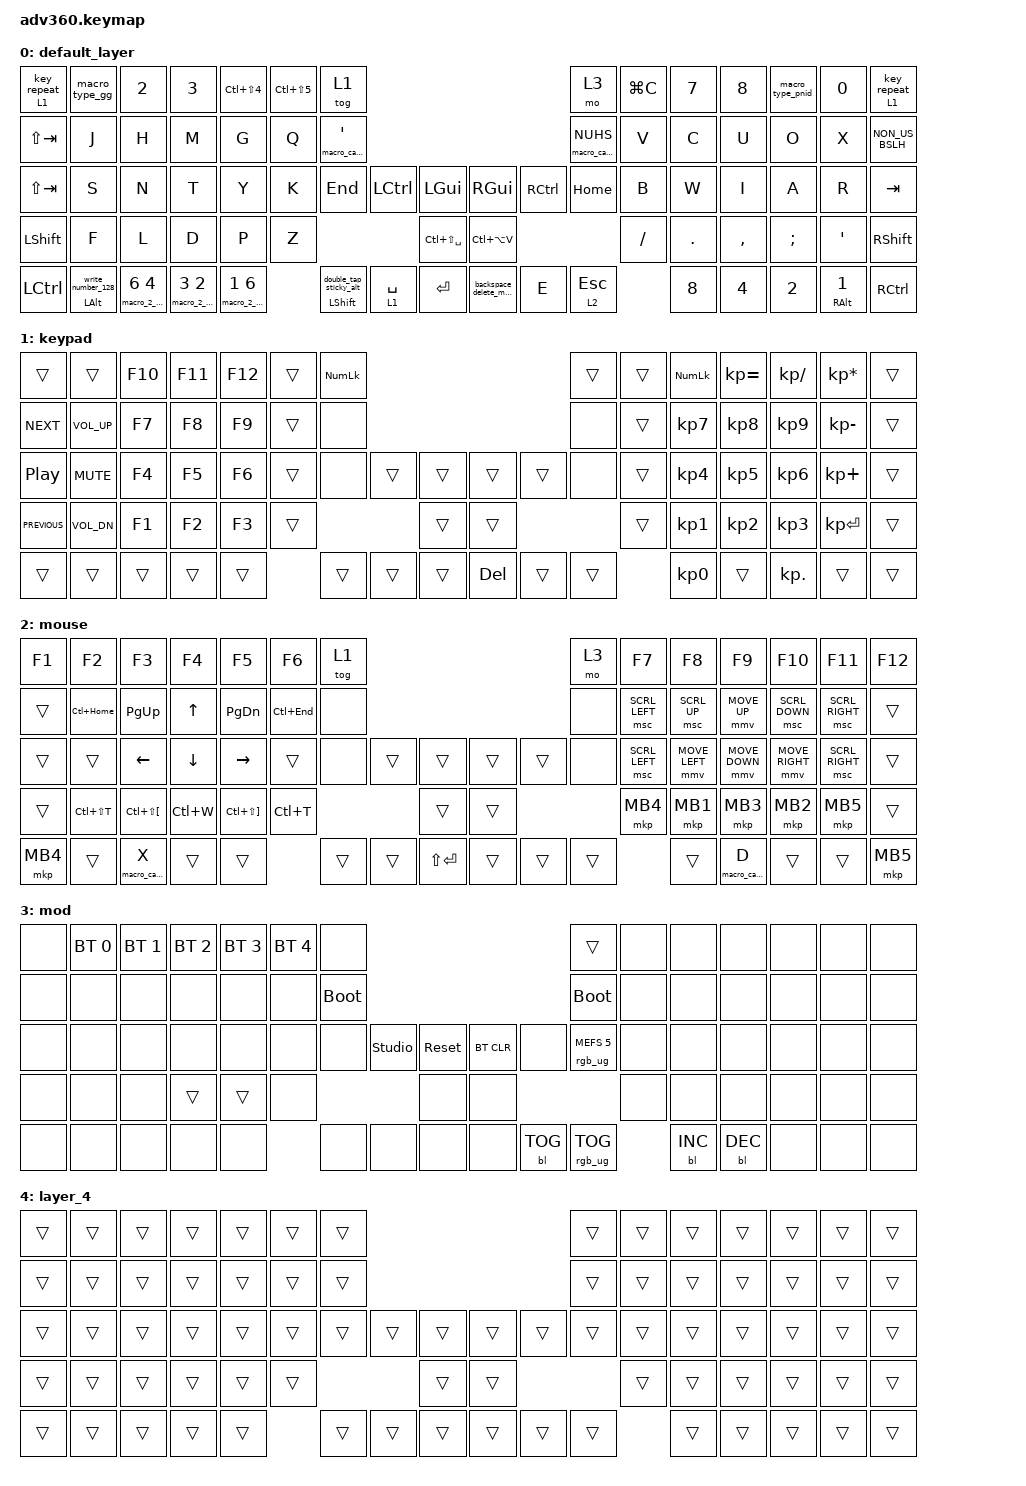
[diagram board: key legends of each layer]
#include <dt-bindings/zmk/mouse.h>
#include <dt-bindings/zmk/stp.h>
#include <behaviors.dtsi>
#include <dt-bindings/zmk/backlight.h>
#include <dt-bindings/zmk/bt.h>
#include <dt-bindings/zmk/keys.h>
#include <dt-bindings/zmk/pointing.h>
#include <dt-bindings/zmk/rgb.h>

&lt {
    retro-tap;
    hold-while-undecided;
    flavor = "balanced";
    quick-tap-ms = <350>;
    require-prior-idle-ms = <175>;
};

&mmv {
    time-to-max-speed-ms = <300>;
    acceleration-exponent = <2>;
};

/ {
    behaviors {
        #include "macros.dtsi"
      #include "version.dtsi"
      #ifndef VERSION_MACRO


        #endif

        hm: homerow_mods {
            compatible = "zmk,behavior-hold-tap";
            label = "HOMEROW_MODS";
            #binding-cells = <2>;
            tapping-term-ms = <200>;
            quick_tap_ms = <175>;
            flavor = "tap-preferred";
            bindings = <&kp>, <&kp>;

            quick-tap-ms = <0>;
        };

        double_tap_e_delete: double_tap_e_delete {
            compatible = "zmk,behavior-tap-dance";
            label = "DOUBLE_TAP_E_DELETE";
            #binding-cells = <0>;
            bindings = <&kp E>, <&kp DELETE>;

            tapping-term-ms = <350>;
        };

        hold_tap_keypad_e_delete: hold_tap_keypad_e_delete {
            compatible = "zmk,behavior-hold-tap";
            label = "HOLD_TAP_KEYPAD_E_DELETE";
            bindings = <&mo>, <&double_tap_e_delete>;

            #binding-cells = <2>;
            tapping-term-ms = <350>;
            flavor = "tap-preferred";
        };

        double_tap_sticky_alt: double_tap_sticky_alt {
            compatible = "zmk,behavior-tap-dance";
            label = "DOUBLE_TAP_STICKY_ALT";
            #binding-cells = <0>;
            bindings = <&sk LSHIFT>, <&sk LALT>, <&caps_word>;

            tapping-term-ms = <350>;
        };

        hold_tap_shift_alt: hold_tap_shift_alt {
            compatible = "zmk,behavior-hold-tap";
            label = "HOLD_TAP_SHIFT_ALT";
            bindings = <&kp>, <&double_tap_sticky_alt>;

            #binding-cells = <2>;
            tapping-term-ms = <350>;
            flavor = "hold-preferred";
        };

        repeat_hold: repeat_hold {
            compatible = "zmk,behavior-hold-tap";
            label = "REPEAT_HOLD";
            bindings = <&kp>, <&key_repeat>;

            #binding-cells = <2>;
            tapping-term-ms = <200>;
            flavor = "tap-preferred";
            retro-tap;
        };

        backspace_delete_morph: backspace_delete_morph {
            compatible = "zmk,behavior-mod-morph";
            label = "BACKSPACE_DELETE_MORPH";
            bindings = <&kp BACKSPACE>, <&kp DEL>;

            #binding-cells = <0>;
            mods = <(MOD_LSFT)>;
        };

        homerow_layers: homerow_layers {
            compatible = "zmk,behavior-hold-tap";
            label = "HOMEROW_LAYERS";
            #binding-cells = <2>;
            tapping-term-ms = <200>;
            quick_tap_ms = <175>;
            flavor = "tap-preferred";
            bindings = <&lt>, <&kp>;

            quick-tap-ms = <0>;
        };

        ht_128_kp: ht_128_kp {
            compatible = "zmk,behavior-hold-tap";
            label = "HT_128_KP";
            bindings = <&kp>, <&write_number_128>;

            #binding-cells = <2>;
            tapping-term-ms = <200>;
            flavor = "balanced";
        };

        lt_hold_preferred: lt_hold_preferred {
            compatible = "zmk,behavior-hold-tap";
            label = "LT_HOLD_PREFERRED";
            bindings = <&mo>, <&kp>;

            #binding-cells = <2>;
            tapping-term-ms = <200>;
        };

        repeat_layer: repeat_layer {
            compatible = "zmk,behavior-hold-tap";
            label = "REPEAT_LAYER";
            bindings = <&mo>, <&key_repeat>;

            #binding-cells = <2>;
            tapping-term-ms = <200>;
            flavor = "tap-preferred";
            retro-tap;
        };
    };

    macros {
        macro_dbl_tap: macro_dbl_tap {
            compatible = "zmk,behavior-macro-one-param";
            label = "MACRO_DBL_TAP";
            #binding-cells = <1>;
            bindings = <&macro_param_1to1 &kp MACRO_PLACEHOLDER &macro_param_1to1 &kp MACRO_PLACEHOLDER>;
        };

        macro_caps_and: macro_caps_and {
            compatible = "zmk,behavior-macro-one-param";
            #binding-cells = <1>;
            bindings =
                <&macro_press>,
                <&kp CAPS &macro_param_1to1 &kp MACRO_PLACEHOLDER>,
                <&macro_pause_for_release>,
                <&macro_release>,
                <&macro_param_1to1 &kp MACRO_PLACEHOLDER &kp CAPS>;

            label = "MACRO_CAPS_AND";
        };

        macro_triple_tap: macro_triple_equals {
            compatible = "zmk,behavior-macro-one-param";
            #binding-cells = <1>;
            bindings = <&macro_param_1to1 &macro_dbl_tap MACRO_PLACEHOLDER &macro_param_1to1 &kp MACRO_PLACEHOLDER>;
            label = "MACRO_TRIPLE_EQUALS";
        };

        write_number_2: write_number_2 {
            compatible = "zmk,behavior-macro-two-param";
            #binding-cells = <2>;
            bindings = <&macro_param_1to1 &kp MACRO_PLACEHOLDER &macro_param_2to1 &kp MACRO_PLACEHOLDER>;
            label = "WRITE_NUMBER_2";
        };

        write_number: write_number {
            compatible = "zmk,behavior-macro-one-param";
            #binding-cells = <1>;
            bindings = <&macro_param_1to1 &kp MACRO_PLACEHOLDER>;
            label = "WRITE_NUMBER";
        };

        write_number_3_1: write_number_3_1 {
            compatible = "zmk,behavior-macro-two-param";
            #binding-cells = <2>;
            bindings = <&kp NUMBER_1 &macro_param_1to1 &kp MACRO_PLACEHOLDER &macro_param_2to1 &kp MACRO_PLACEHOLDER>;
            label = "WRITE_NUMBER_3_1";
        };

        write_number_3_2: write_number_3_2 {
            compatible = "zmk,behavior-macro-two-param";
            #binding-cells = <2>;
            bindings = <&kp NUMBER_2 &macro_param_1to1 &kp MACRO_PLACEHOLDER &macro_param_2to1 &kp MACRO_PLACEHOLDER>;
            label = "WRITE_NUMBER_3_2";
        };

        macro_dbl_mouse: macro_dbl_mouse {
            compatible = "zmk,behavior-macro-two-param";
            label = "MACRO_DBL_MOUSE";
            #binding-cells = <2>;
            bindings = <&macro_param_1to1 &mkp MACRO_PLACEHOLDER &macro_param_2to1 &mkp MACRO_PLACEHOLDER>;
        };

        macro_2_key: macro_2_key {
            compatible = "zmk,behavior-macro-two-param";
            label = "MACRO_2_KEY";
            #binding-cells = <2>;
            bindings = <&macro_param_1to1 &kp MACRO_PLACEHOLDER &macro_param_2to1 &kp MACRO_PLACEHOLDER>;
        };

        macro_sticky_shift: macro_sticky_shift {
            compatible = "zmk,behavior-macro";
            #binding-cells = <0>;
            bindings =
                <&macro_press>,
                <&sk LEFT_SHIFT>,
                <&macro_pause_for_release>,
                <&macro_release>,
                <&sk LEFT_SHIFT>;

            label = "MACRO_STICKY_SHIFT";
        };

        macro_alt_tab: macro_alt_tab {
            compatible = "zmk,behavior-macro";
            #binding-cells = <0>;
            bindings =
                <&macro_press>,
                <&kp LEFT_ALT>,
                <&macro_tap>,
                <&kp TAB>,
                <&macro_pause_for_release>,
                <&macro_release>,
                <&kp LEFT_ALT>;

            label = "MACRO_ALT_TAB";
        };

        write_number_128: write_number_128 {
            compatible = "zmk,behavior-macro";
            #binding-cells = <0>;
            bindings = <&kp N1 &kp N2 &kp N8>;
            label = "WRITE_NUMBER_128";
        };

        macro_select_all_and: macro_select_all_and {
            compatible = "zmk,behavior-macro-one-param";
            #binding-cells = <1>;
            bindings =
                <&macro_press>,
                <&kp LC(A) &macro_param_1to1 &kp MACRO_PLACEHOLDER>,
                <&macro_pause_for_release>,
                <&macro_release>,
                <&macro_param_1to1 &kp MACRO_PLACEHOLDER &kp CAPS>;

            label = "MACRO_SELECT_ALL_AND";
        };

        macro_type_gg: macro_type_gg {
            compatible = "zmk,behavior-macro";
            #binding-cells = <0>;
            bindings = <&kp G &kp G &kp RETURN>;
            label = "MACRO_TYPE_GG";
        };

        macro_type_pnid: macro_type_pnid {
            compatible = "zmk,behavior-macro";
            #binding-cells = <0>;
            bindings = <&kp P &kp N &kp I &kp D &kp RETURN>;
            label = "MACRO_TYPE_PNID";
        };
    };

    combos {
        compatible = "zmk,combos";

        #include "binary_combos.dtsi"
        #include "repeat_key_combos.dtsi"

        combo_undo {
            bindings = <&kp LC(Z)>;
            key-positions = <30 49>;
            layers = <0>;
            require-prior-idle-ms = <200>;
        };

        combo_redo {
            bindings = <&kp LC(LS(Z))>;
            key-positions = <30 50>;
            layers = <0>;
        };

        combo_select_all {
            bindings = <&kp LC(A)>;
            key-positions = <50 49 48>;
            require-prior-idle-ms = <200>;
            layers = <0>;
        };

        combo_copy_all {
            bindings = <&macro_select_all_and LC(C)>;
            key-positions = <50 31>;
            require-prior-idle-ms = <200>;
            layers = <0>;
        };

        combo_cut_all {
            bindings = <&macro_select_all_and LC(X)>;
            key-positions = <31 48>;
            require-prior-idle-ms = <200>;
            layers = <0>;
        };

        paste_combo {
            bindings = <&kp LC(V)>;
            key-positions = <31 51>;
            layers = <0>;
            require-prior-idle-ms = <200>;
        };

        combo_copy {
            bindings = <&kp LC(C)>;
            key-positions = <50 49>;
            layers = <0>;
            require-prior-idle-ms = <200>;
        };

        combo_cut {
            bindings = <&kp LC(X)>;
            key-positions = <48 49>;
            layers = <0>;
        };

        combo_triple_equals {
            bindings = <&macro_triple_tap EQUAL>;
            key-positions = <41 42 43 44>;
            layers = <0>;
            timeout-ms = <200>;
        };

        combo_equals {
            bindings = <&kp EQUAL>;
            key-positions = <41 42 43>;
            layers = <0>;
        };

        combo_pct {
            bindings = <&kp PRCNT>;
            key-positions = <31 32 30>;
            layers = <0>;
        };

        left_paren {
            bindings = <&kp LEFT_PARENTHESIS>;
            key-positions = <24 22>;
            layers = <0>;
            require-prior-idle-ms = <200>;
        };

        right_paren {
            bindings = <&kp RIGHT_PARENTHESIS>;
            key-positions = <24 26>;
            layers = <0>;
        };

        less_than {
            bindings = <&kp LESS_THAN>;
            key-positions = <24 23>;
            layers = <0>;
        };

        greater_than {
            bindings = <&kp GT>;
            key-positions = <24 25>;
            layers = <0>;
        };

        left_square_paren {
            bindings = <&kp LEFT_BRACKET>;
            key-positions = <23 42>;
            layers = <0>;
            require-prior-idle-ms = <200>;
        };

        right_square_paren {
            bindings = <&kp RIGHT_BRACKET>;
            key-positions = <25 42>;
            layers = <0>;
            require-prior-idle-ms = <200>;
        };

        left_curly_paren {
            bindings = <&kp LEFT_BRACE>;
            key-positions = <22 42>;
            layers = <0>;
            require-prior-idle-ms = <200>;
        };

        right_curly_paren {
            bindings = <&kp RIGHT_BRACE>;
            key-positions = <26 42>;
            layers = <0>;
        };

        dollar {
            bindings = <&kp DOLLAR>;
            key-positions = <31 33>;
            layers = <0>;
        };

        zero {
            bindings = <&kp N0>;
            key-positions = <29 31>;
            layers = <0>;
            require-prior-idle-ms = <200>;
        };

        caret {
            bindings = <&kp CARET>;
            key-positions = <31 30>;
            layers = <0>;
            require-prior-idle-ms = <200>;
        };

        double_equals {
            bindings = <&macro_dbl_tap EQUAL EQUAL>;
            key-positions = <41 43>;
            layers = <0>;
            require-prior-idle-ms = <200>;
        };

        plus {
            bindings = <&kp PLUS>;
            key-positions = <42 43>;
            layers = <0>;
        };

        minus {
            bindings = <&kp MINUS>;
            key-positions = <42 41>;
            layers = <0>;
            require-prior-idle-ms = <200>;
        };

        divide {
            bindings = <&kp KP_DIVIDE>;
            key-positions = <42 55>;
            layers = <0>;
            require-prior-idle-ms = <200>;
        };

        multiply {
            bindings = <&kp KP_MULTIPLY>;
            key-positions = <42 57>;
            layers = <0>;
            require-prior-idle-ms = <200>;
        };

        underscore_combo {
            bindings = <&kp UNDERSCORE>;
            key-positions = <41 56>;
            layers = <0>;
            require-prior-idle-ms = <200>;
        };

        double_quotes_combo {
            bindings = <&kp AT>;
            key-positions = <58 43>;
            layers = <0>;
        };

        grave_combo {
            bindings = <&kp GRAVE>;
            key-positions = <58 43 42>;
            layers = <0>;
        };

        browser_recent_tab {
            bindings = <&kp LA(Q)>;
            key-positions = <29 51>;
            layers = <2>;
        };

        alt_tab_combo {
            bindings = <&macro_alt_tab>;
            key-positions = <29 50>;
            layers = <0>;
        };

        shift_alt_tab {
            bindings = <&kp LA(LS(TAB))>;
            key-positions = <29 48>;
            layers = <0>;
        };

        less_than_eq {
            bindings = <&macro_2_key LESS_THAN EQUAL>;
            key-positions = <42 23 43>;
            layers = <0>;
            require-prior-idle-ms = <200>;
        };

        greater_than_eq {
            bindings = <&macro_2_key GREATER_THAN EQUAL>;
            key-positions = <42 41 25>;
            layers = <0>;
            require-prior-idle-ms = <200>;
        };

        arrow_combo {
            bindings = <&macro_2_key EQUAL GREATER_THAN>;
            key-positions = <42 43 44>;
            layers = <0>;
            require-prior-idle-ms = <200>;
        };

        exclamation {
            bindings = <&kp EXCL>;
            key-positions = <31 15>;
            require-prior-idle-ms = <200>;
            layers = <0>;
        };

        ampersand {
            bindings = <&kp AMPERSAND>;
            key-positions = <31 18>;
            require-prior-idle-ms = <200>;
            layers = <0>;
        };

        great_british_pounds {
            bindings = <&kp HASH>;
            key-positions = <19 31>;
            require-prior-idle-ms = <200>;
            layers = <0>;
        };

        dbl_mouse_1_combo {
            bindings = <&macro_dbl_mouse MB1 MB1>;
            key-positions = <55 56>;
            layers = <2>;
        };

        triple_grave_combo {
            bindings = <&macro_triple_tap GRAVE>;
            key-positions = <58 43 42 67>;
        };

        hash_key_combo {
            bindings = <&kp NUHS>;
            key-positions = <16 18 17>;
        };

        question_mark {
            bindings = <&kp QUESTION>;
            key-positions = <54 55>;
        };

        DESKTOP_1 {
            bindings = <&macro_caps_and NUMBER_1>;
            key-positions = <29 16>;
            layers = <0>;
            require-prior-idle-ms = <200>;
        };

        DESKTOP_2 {
            bindings = <&macro_caps_and NUMBER_2>;
            key-positions = <29 17>;
            layers = <0>;
            require-prior-idle-ms = <200>;
        };

        DESKTOP_3 {
            bindings = <&macro_caps_and NUMBER_3>;
            key-positions = <29 18>;
            layers = <0>;
            require-prior-idle-ms = <200>;
        };

        DESKTOP_4 {
            bindings = <&macro_caps_and NUMBER_4>;
            key-positions = <19 29>;
            layers = <0>;
            require-prior-idle-ms = <200>;
        };

        DESKTOP_5 {
            bindings = <&macro_caps_and Q>;
            key-positions = <30 47>;
            layers = <0>;
            require-prior-idle-ms = <200>;
        };

        DESKTOP_6 {
            bindings = <&macro_caps_and W>;
            key-positions = <31 47>;
            layers = <0>;
            require-prior-idle-ms = <200>;
        };

        DESKTOP_7 {
            bindings = <&macro_caps_and E>;
            key-positions = <32 47>;
            layers = <0>;
            require-prior-idle-ms = <200>;
        };

        DESKTOP_8 {
            bindings = <&macro_caps_and R>;
            key-positions = <33 47>;
            layers = <0>;
            require-prior-idle-ms = <200>;
        };

        combo_mission_control {
            bindings = <&macro_caps_and SPACE>;
            key-positions = <29 66>;
            require-prior-idle-ms = <200>;
            layers = <0>;
        };

        combo_toggle_finder {
            bindings = <&macro_caps_and D>;
            key-positions = <29 49>;
        };

        combo_toggle_settings {
            bindings = <&macro_caps_and D>;
            key-positions = <29 48>;
        };
    };

    keymap {
        compatible = "zmk,keymap";

        default_layer {
            bindings = <
&repeat_layer 1 0  &macro_type_gg     &kp N2                          &kp N3                          &kp LC(LS(N4))                  &kp LC(LS(N5))  &tog 1                                                                                                    &mo 3                        &kp LG(C)  &kp N7      &kp N8        &macro_type_pnid  &kp N0             &repeat_layer 1 0
&kp LS(TAB)        &kp J              &kp H                           &kp M                           &kp G                           &kp Q           &macro_caps_and SINGLE_QUOTE                                                                              &macro_caps_and NUHS         &kp V      &kp C       &kp U         &kp O             &kp X              &kp NON_US_BSLH
&kp LS(TAB)        &kp S              &kp N                           &kp T                           &kp Y                           &kp K           &kp END                           &kp LCTRL    &kp LEFT_GUI           &kp RIGHT_GUI            &kp RCTRL  &kp HOME                     &kp B      &kp W       &kp I         &kp A             &kp R              &kp TAB
&kp LSHIFT         &kp F              &kp L                           &kp D                           &kp P                           &kp Z                                                          &kp LC(LS(SPACE))      &kp LC(LA(V))                                                    &kp SLASH  &kp PERIOD  &kp COMMA     &kp SEMICOLON     &kp SQT            &kp RSHFT
&kp LEFT_CONTROL   &ht_128_kp LALT 0  &macro_2_key NUMBER_6 NUMBER_4  &macro_2_key NUMBER_3 NUMBER_2  &macro_2_key NUMBER_1 NUMBER_6                  &hold_tap_shift_alt LEFT_SHIFT 0  &lt 1 SPACE  &kp ENTER              &backspace_delete_morph  &kp E      &lt_hold_preferred 2 ESCAPE             &kp N8      &kp NUMBER_4  &kp NUMBER_2      &mt RALT NUMBER_1  &kp RCTRL
            >;
        };

        keypad {
            bindings = <
&trans            &trans           &kp F10  &kp F11  &kp F12  &trans  &kp KP_NUMLOCK                                       &trans  &trans  &kp KP_NUM       &kp KP_EQUAL  &kp KP_DIVIDE  &kp KP_MULTIPLY  &trans
&kp C_NEXT        &kp C_VOLUME_UP  &kp F7   &kp F8   &kp F9   &trans  &none                                                &none   &trans  &kp KP_N7        &kp KP_N8     &kp KP_N9      &kp KP_MINUS     &trans
&kp C_PLAY_PAUSE  &kp K_MUTE       &kp F4   &kp F5   &kp F6   &trans  &none           &trans  &trans      &trans   &trans  &none   &trans  &kp KP_N4        &kp KP_N5     &kp KP_N6      &kp KP_PLUS      &trans
&kp C_PREVIOUS    &kp C_VOL_DN     &kp F1   &kp F2   &kp F3   &trans                          &trans      &trans                   &trans  &kp KP_N1        &kp KP_N2     &kp KP_N3      &kp KP_ENTER     &trans
&trans            &trans           &trans   &trans   &trans           &trans          &trans  &trans      &kp DEL  &trans  &trans          &kp KP_NUMBER_0  &trans        &kp KP_DOT     &trans           &trans
            >;
        };

        mouse {
            bindings = <
&kp F1    &kp F2         &kp F3                    &kp F4     &kp F5                     &kp F6       &tog 1                                             &mo 3   &kp F7          &kp F8          &kp F9             &kp F10          &kp F11          &kp F12
&trans    &kp LC(HOME)   &kp PAGE_UP               &kp UP     &kp PAGE_DOWN              &kp LC(END)  &none                                              &none   &msc SCRL_LEFT  &msc SCRL_UP    &mmv MOVE_UP       &msc SCRL_DOWN   &msc SCRL_RIGHT  &trans
&trans    &trans         &kp LEFT                  &kp DOWN   &kp RIGHT                  &trans       &none   &trans  &trans             &trans  &trans  &none   &msc SCRL_LEFT  &mmv MOVE_LEFT  &mmv MOVE_DOWN     &mmv MOVE_RIGHT  &msc SCRL_RIGHT  &trans
&trans    &kp LC(LS(T))  &kp LC(LS(LEFT_BRACKET))  &kp LC(W)  &kp LC(LS(RIGHT_BRACKET))  &kp LC(T)                    &trans             &trans                  &mkp MB4        &mkp MB1        &mkp MB3           &mkp MB2         &mkp MB5         &trans
&mkp MB4  &trans         &macro_caps_and X         &trans     &trans                                  &trans  &trans  &kp LS(ENTER)      &trans  &trans  &trans                  &trans          &macro_caps_and D  &trans           &trans           &mkp MB5
            >;
        };

        mod {
            bindings = <
&none  &bt BT_SEL 0  &bt BT_SEL 1  &bt BT_SEL 2  &bt BT_SEL 3  &bt BT_SEL 4  &none                                                                &trans                  &none  &none       &none       &none  &none  &none
&none  &none         &none         &none         &none         &none         &bootloader                                                          &bootloader             &none  &none       &none       &none  &none  &none
&none  &none         &none         &none         &none         &none         &none        &studio_unlock  &sys_reset      &bt BT_CLR  &none       &rgb_ug RGB_MEFS_CMD 5  &none  &none       &none       &none  &none  &none
&none  &none         &none         &trans        &trans        &none                                      &none           &none                                           &none  &none       &none       &none  &none  &none
&none  &none         &none         &none         &none                       &none        &none           &none           &none       &bl BL_TOG  &rgb_ug RGB_TOG                &bl BL_INC  &bl BL_DEC  &none  &none  &none
            >;
        };

        layer_4 {
            bindings = <
&trans  &trans  &trans  &trans  &trans  &trans  &trans                                      &trans  &trans  &trans  &trans  &trans  &trans  &trans
&trans  &trans  &trans  &trans  &trans  &trans  &trans                                      &trans  &trans  &trans  &trans  &trans  &trans  &trans
&trans  &trans  &trans  &trans  &trans  &trans  &trans  &trans  &trans      &trans  &trans  &trans  &trans  &trans  &trans  &trans  &trans  &trans
&trans  &trans  &trans  &trans  &trans  &trans                  &trans      &trans                  &trans  &trans  &trans  &trans  &trans  &trans
&trans  &trans  &trans  &trans  &trans          &trans  &trans  &trans      &trans  &trans  &trans          &trans  &trans  &trans  &trans  &trans
            >;
        };
    };
};
